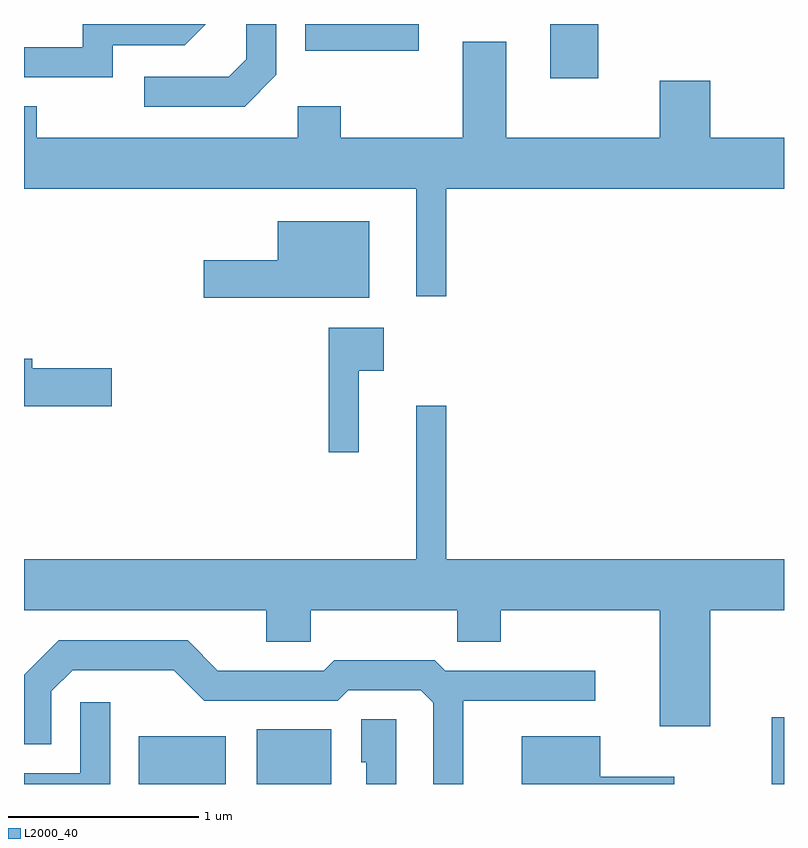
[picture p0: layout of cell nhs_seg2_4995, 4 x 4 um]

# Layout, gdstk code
import gdstk
lib = gdstk.Library(unit=1e-6, precision=1e-09)
def R(c, l, rs):  # rectangles x0, y0, x1, y1
    for r in rs: c.add(gdstk.rectangle(r[:2], r[2:], *l))
def P(c, l, *ps):  # polygons
    for p in ps: c.add(gdstk.Polygon(p, *l))
L2000_40 = (2000, 40)

nhs_seg2_4995 = lib.new_cell('nhs_seg2_4995')
R(nhs_seg2_4995, L2000_40, [(332.216,1091.802,332.674,1092.054), (332.836,1091.802,333.229,1092.089), (335.546,1091.802,335.611,1092.154), (334.381,1095.516,334.634,1095.802), (333.091,1095.661,333.689,1095.802)])
P(nhs_seg2_4995, L2000_40, [(332.939,1095.534),(332.939,1095.802),(332.781,1095.802),(332.781,1095.617),(332.689,1095.524),(332.243,1095.524),(332.243,1095.366),(332.772,1095.366)],
  [(332.079,1095.691),(332.457,1095.691),(332.567,1095.802),(331.921,1095.802),(331.921,1095.679),(331.611,1095.679),(331.611,1095.521),(332.079,1095.521)],
  [(333.834,1094.936),(335.611,1094.936),(335.611,1095.204),(335.224,1095.204),(335.224,1095.504),(334.956,1095.504),(334.956,1095.204),(334.149,1095.204),(334.149,1095.709),(333.921,1095.709),(333.921,1095.204),(333.279,1095.204),(333.279,1095.369),(333.051,1095.369),(333.051,1095.204),(331.679,1095.204),(331.679,1095.369),(331.611,1095.369),(331.611,1094.936),(333.676,1094.936),(333.676,1094.368),(333.834,1094.368)],
  [(333.429,1094.764),(332.946,1094.764),(332.946,1094.559),(332.556,1094.559),(332.556,1094.361),(333.429,1094.361)],
  [(333.374,1093.976),(333.504,1093.976),(333.504,1094.204),(333.216,1094.204),(333.216,1093.548),(333.374,1093.548)],
  [(332.074,1093.989),(331.654,1093.989),(331.654,1094.039),(331.611,1094.039),(331.611,1093.791),(332.074,1093.791)],
  [(335.224,1092.716),(335.611,1092.716),(335.611,1092.984),(333.834,1092.984),(333.834,1093.793),(333.676,1093.793),(333.676,1092.984),(331.611,1092.984),(331.611,1092.716),(332.886,1092.716),(332.886,1092.551),(333.119,1092.551),(333.119,1092.716),(333.891,1092.716),(333.891,1092.551),(334.119,1092.551),(334.119,1092.716),(334.956,1092.716),(334.956,1092.106),(335.224,1092.106)],
  [(333.924,1092.241),(334.618,1092.241),(334.618,1092.399),(333.827,1092.399),(333.772,1092.454),(333.244,1092.454),(333.189,1092.399),(332.632,1092.399),(332.472,1092.559),(331.794,1092.559),(331.611,1092.377),(331.611,1092.011),(331.754,1092.011),(331.754,1092.289),(331.867,1092.401),(332.399,1092.401),(332.559,1092.241),(333.262,1092.241),(333.317,1092.296),(333.699,1092.296),(333.766,1092.229),(333.766,1091.802),(333.924,1091.802)],
  [(332.064,1092.233),(331.906,1092.233),(331.906,1091.859),(331.611,1091.859),(331.611,1091.802),(332.064,1091.802)],
  [(333.569,1092.144),(333.386,1092.144),(333.386,1091.916),(333.411,1091.916),(333.411,1091.802),(333.569,1091.802)],
  [(335.034,1091.839),(334.644,1091.839),(334.644,1092.054),(334.231,1092.054),(334.231,1091.802),(335.034,1091.802)])

lib.write_gds('nhs_seg2_4995.gds')
